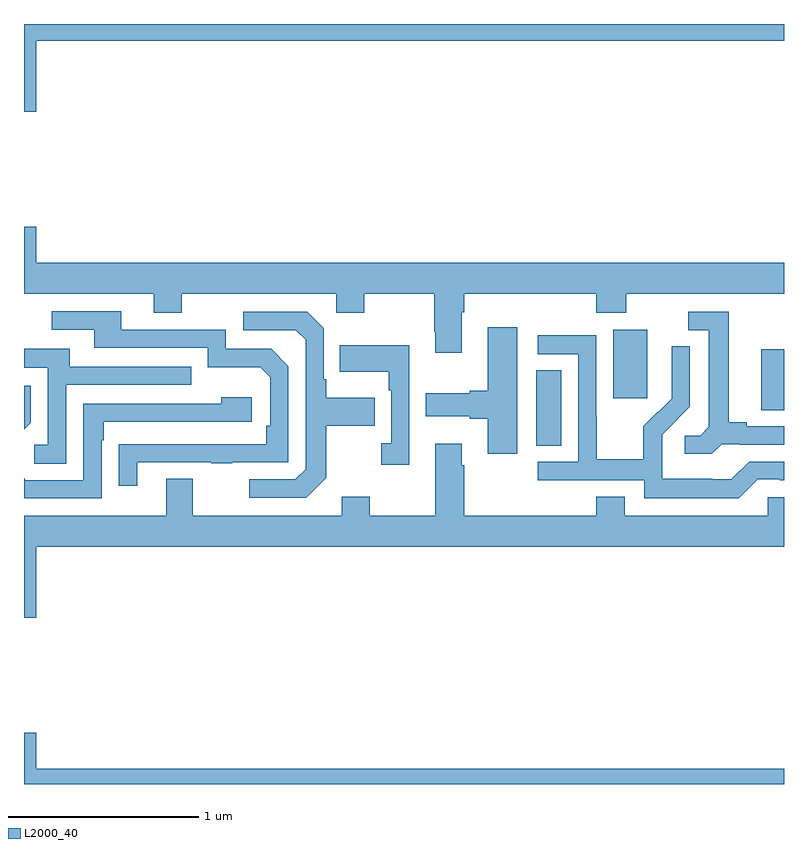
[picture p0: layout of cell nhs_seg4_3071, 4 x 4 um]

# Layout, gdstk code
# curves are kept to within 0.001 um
import gdstk
lib = gdstk.Library(unit=1e-6, precision=1e-09)
def R(c, l, rs):  # rectangles x0, y0, x1, y1
    for r in rs: c.add(gdstk.rectangle(r[:2], r[2:], *l))
def P(c, l, *ps):  # polygons
    for p in ps: c.add(gdstk.Polygon(p, *l))
L2000_40 = (2000, 40)

nhs_seg4_3071 = lib.new_cell('nhs_seg4_3071')
R(nhs_seg4_3071, L2000_40, [(275.696,802.681,275.827,803.078), (276.881,802.867,277,803.187), (276.101,802.929,276.28,803.29)])
P(nhs_seg4_3071, L2000_40, [(277,804.9),(273,804.9),(273,804.438),(273.064,804.438),(273.064,804.812),(277,804.812)],
  [(275.305,803.384),(275.318,803.384),(275.318,803.48),(276.011,803.48),(276.011,803.381),(276.171,803.381),(276.171,803.48),(277,803.48),(277,803.644),(273.064,803.644),(273.064,803.833),(273,803.833),(273,803.48),(273.683,803.48),(273.683,803.381),(273.831,803.381),(273.831,803.48),(274.644,803.48),(274.644,803.381),(274.791,803.381),(274.791,803.48),(275.158,803.48),(275.158,803.281),(275.165,803.281),(275.165,803.169),(275.305,803.169)],
  [(273.595,802.593),(273.985,802.593),(273.985,802.588),(274.097,802.588),(274.097,802.593),(274.392,802.593),(274.392,803.1),(274.302,803.19),(274.062,803.19),(274.062,803.292),(273.511,803.292),(273.511,803.388),(273.147,803.388),(273.147,803.292),(273.371,803.292),(273.371,803.196),(273.966,803.196),(273.966,803.093),(274.243,803.093),(274.296,803.04),(274.296,802.786),(274.276,802.786),(274.276,802.689),(273.499,802.688),(273.499,802.47),(273.595,802.47)],
  [(276.672,802.689),(276.766,802.689),(276.766,802.686),(277,802.686),(277,802.782),(276.805,802.782),(276.805,802.805),(276.709,802.805),(276.709,803.385),(276.495,803.385),(276.495,803.289),(276.605,803.289),(276.605,802.781),(276.558,802.734),(276.477,802.734),(276.477,802.637),(276.62,802.637)],
  [(274.591,802.513),(274.591,802.786),(274.847,802.786),(274.847,802.933),(274.591,802.933),(274.591,803.029),(274.578,803.029),(274.578,803.298),(274.491,803.385),(274.155,803.385),(274.155,803.289),(274.431,803.289),(274.482,803.238),(274.482,802.557),(274.428,802.503),(274.185,802.503),(274.185,802.407),(274.485,802.407)],
  [(275.596,803.305),(275.441,803.305),(275.441,802.97),(275.345,802.97),(275.345,802.957),(275.115,802.957),(275.115,802.835),(275.345,802.835),(275.345,802.823),(275.441,802.823),(275.441,802.638),(275.596,802.638)],
  [(276.861,802.503),(276.977,802.503),(276.977,802.5),(277,802.5),(277,802.596),(276.816,802.596),(276.723,802.503),(276.623,802.503),(276.623,802.507),(276.36,802.507),(276.36,802.641),(276.358,802.641),(276.358,802.738),(276.504,802.886),(276.504,803.204),(276.408,803.204),(276.408,803.05),(276.41,803.05),(276.41,802.928),(276.339,802.857),(276.336,802.86),(276.259,802.783),(276.259,802.609),(276.015,802.609),(276.015,802.832),(276.012,802.832),(276.012,803.262),(275.703,803.262),(275.703,803.163),(275.916,803.163),(275.916,802.596),(275.703,802.596),(275.703,802.5),(276.264,802.5),(276.264,802.403),(276.761,802.403)],
  [(275.028,803.209),(274.663,803.209),(274.663,803.069),(274.92,803.069),(274.92,802.973),(274.932,802.973),(274.932,802.694),(274.881,802.694),(274.881,802.581),(275.028,802.581)],
  [(273.222,803.001),(273.881,803.001),(273.881,803.097),(273.241,803.097),(273.241,803.191),(273,803.191),(273,803.091),(273.126,803.091),(273.126,802.686),(273.054,802.686),(273.054,802.585),(273.222,802.585)],
  [(273.036,802.802),(273.036,802.996),(273,802.996),(273,802.766)],
  [(273.408,802.709),(273.421,802.709),(273.421,802.806),(274.198,802.806),(274.198,802.936),(274.037,802.936),(274.037,802.902),(273.312,802.902),(273.312,802.5),(273.009,802.5),(273,802.509),(273,802.404),(273.408,802.404)],
  [(277,802.41),(276.915,802.41),(276.915,802.312),(276.163,802.312),(276.163,802.411),(276.011,802.411),(276.011,802.312),(275.318,802.312),(275.318,802.577),(275.305,802.577),(275.305,802.69),(275.165,802.69),(275.165,802.312),(274.821,802.312),(274.821,802.411),(274.673,802.411),(274.673,802.312),(273.889,802.312),(273.889,802.507),(273.749,802.507),(273.749,802.312),(273,802.312),(273,801.774),(273.064,801.774),(273.064,802.148),(277,802.148)],
  [(277,800.98),(273.064,800.98),(273.064,801.169),(273,801.169),(273,800.9),(277,800.9)])

lib.write_gds('nhs_seg4_3071.gds')
